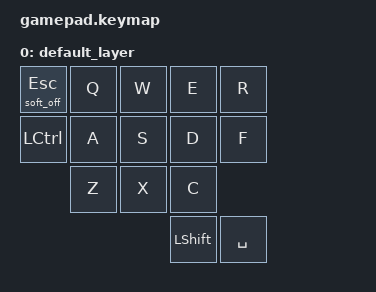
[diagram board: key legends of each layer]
#include <behaviors.dtsi>
#include <dt-bindings/zmk/keys.h>

&soft_off { hold-time-ms = <3000>; };

/ {
    behaviors {
        power_off: power_off {
            compatible = "zmk,behavior-hold-tap";
            label = "POWER_OFF";
            bindings = <&soft_off>, <&kp>;

            #binding-cells = <2>;
            tapping-term-ms = <150>;
            flavor = "tap-preferred";
        };
    };

    keymap {
        compatible = "zmk,keymap";

        default_layer {
            bindings = <
&power_off 0 ESC  &kp Q  &kp W  &kp E      &kp R
&kp LCTRL         &kp A  &kp S  &kp D      &kp F
                  &kp Z  &kp X  &kp C
                                &kp LSHFT  &kp SPACE
            >;
        };
    };
};
